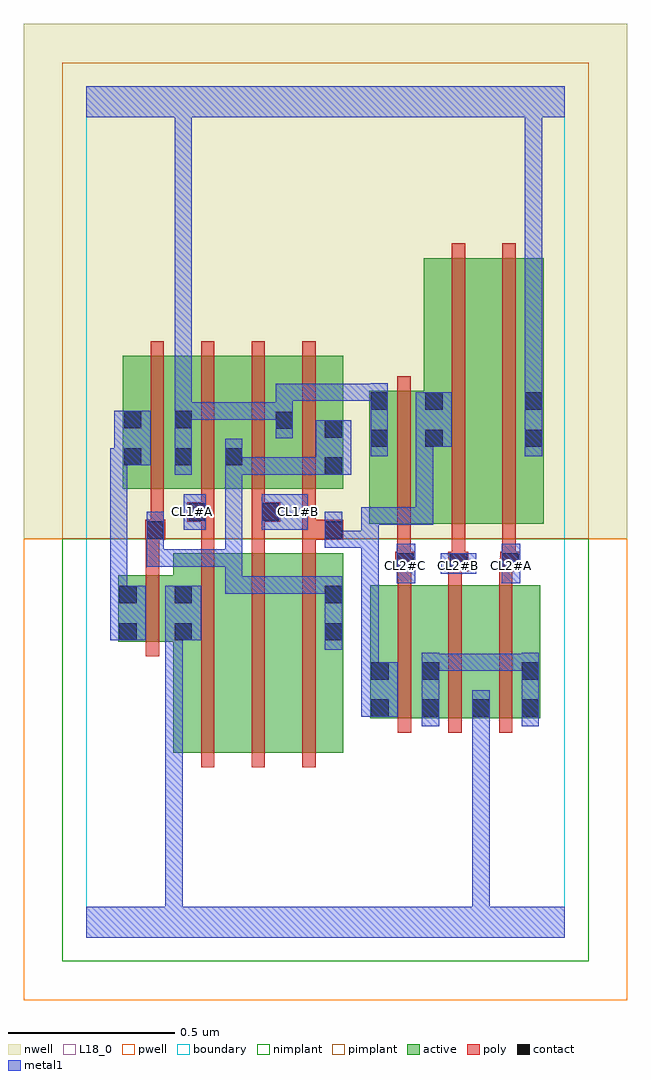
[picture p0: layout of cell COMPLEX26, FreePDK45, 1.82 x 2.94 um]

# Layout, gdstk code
import gdstk
lib = gdstk.Library(unit=1e-6, precision=1e-09)
def R(c, l, rs):  # rectangles x0, y0, x1, y1
    for r in rs: c.add(gdstk.rectangle(r[:2], r[2:], *l))
def A(c, l, x, y, w, h, nx, ny, dx, dy):  # array of equal rectangles
    R(c, l, [(x+i*dx, y+j*dy, x+i*dx+w, y+j*dy+h) for i in range(nx) for j in range(ny)])
active = (1, 0)
pwell = (2, 0)
nwell = (3, 0)
nimplant = (4, 0)
pimplant = (5, 0)
poly = (9, 0)
contact = (10, 0)
metal1 = (11, 0)
L18_0 = (18, 0)
boundary = (235, 0)

complex26 = lib.new_cell('COMPLEX26')
A(complex26, active, 0.11, 1.35, 0.212, 0.4, 3, 1, 0.152, 0)
R(complex26, active, [(0.262,0.556,0.442,1.156), (0.442,0.556,0.594,1.156), (0.594,0.556,0.774,1.156), (0.714,0.556,0.774,1.156), (0.854,0.66,0.914,1.06), (0.854,0.66,1.066,1.06), (1.006,0.66,1.218,1.06), (1.006,0.66,1.066,0.984), (1.158,0.66,1.366,1.06), (1.158,0.66,1.218,0.902), (1.306,0.66,1.366,1.06), (0.262,0.734,0.322,1.062), (0.096,0.89,0.322,1.09), (0.096,0.89,0.156,1.09), (0.852,1.244,0.912,1.644), (0.852,1.244,1.076,1.644), (1.016,1.244,1.196,2.044), (1.196,1.244,1.376,2.044), (1.316,1.244,1.376,2.044), (1.016,1.342,1.076,1.742), (0.11,1.35,0.17,1.75), (0.262,1.35,0.322,1.644), (0.414,1.35,0.474,1.644), (0.566,1.35,0.774,1.75), (0.714,1.35,0.774,1.644), (0.566,1.498,0.626,1.644)])
R(complex26, pwell, [(-0.188,-0.188,1.628,1.2)])
R(complex26, nwell, [(-0.188,1.2,1.628,2.748)])
R(complex26, nimplant, [(-0.072,-0.072,1.512,1.2)])
R(complex26, pimplant, [(-0.072,1.2,1.512,2.632)])
A(complex26, poly, 0.346, 0.512, 0.04, 0.688, 3, 1, 0.152, 0)
A(complex26, poly, 0.938, 0.616, 0.04, 0.488, 3, 1, 0.152, 0)
A(complex26, poly, 0.938, 1.064, 0.04, 0.076, 3, 1, 0.152, 0)
A(complex26, poly, 0.194, 1.306, 0.04, 0.488, 4, 1, 0.152, 0)
R(complex26, poly, [(0.18,0.846,0.22,1.134), (0.18,1.094,0.22,1.236), (0.93,1.1,0.99,1.16), (1.09,1.1,1.15,1.16), (1.242,1.1,1.286,1.14), (1.246,1.1,1.286,1.14), (1.246,1.1,1.306,1.16), (0.936,1.12,0.976,1.24), (0.936,1.12,0.976,1.16), (0.936,1.12,0.976,1.16), (1.1,1.12,1.14,1.24), (1.1,1.12,1.14,1.16), (1.1,1.12,1.14,1.16), (1.252,1.12,1.292,1.24), (0.346,1.16,0.386,1.29), (0.498,1.16,0.538,1.29), (0.65,1.16,0.69,1.236), (0.178,1.196,0.238,1.256), (0.65,1.196,0.774,1.256), (0.936,1.2,0.976,1.688), (1.1,1.2,1.14,2.088), (1.252,1.2,1.292,2.088), (0.194,1.216,0.234,1.256), (0.194,1.216,0.234,1.256), (0.194,1.216,0.234,1.346), (0.65,1.216,0.69,1.256), (0.65,1.216,0.69,1.256), (0.65,1.216,0.69,1.346), (0.304,1.25,0.386,1.31), (0.346,1.25,0.386,1.29), (0.346,1.25,0.386,1.29), (0.498,1.25,0.538,1.29), (0.498,1.25,0.538,1.29), (0.498,1.25,0.584,1.31), (0.346,1.27,0.386,1.346), (0.498,1.27,0.538,1.346)])
A(complex26, contact, 0.858, 0.664, 0.052, 0.052, 3, 1, 0.152, 0)
A(complex26, contact, 0.114, 1.42, 0.052, 0.052, 3, 1, 0.152, 0)
R(complex26, contact, [(1.31,0.664,1.362,0.716), (0.858,0.776,0.91,0.828), (1.01,0.776,1.062,0.828), (1.31,0.776,1.362,0.828), (0.1,0.894,0.152,0.946), (0.266,0.894,0.318,0.946), (0.718,0.894,0.77,0.946), (0.1,1.006,0.152,1.058), (0.266,1.006,0.318,1.058), (0.718,1.006,0.77,1.058), (0.934,1.104,0.986,1.156), (1.094,1.104,1.146,1.156), (1.25,1.104,1.302,1.156), (0.182,1.2,0.234,1.252), (0.718,1.2,0.77,1.252), (0.308,1.254,0.36,1.306), (0.528,1.254,0.58,1.306), (0.718,1.392,0.77,1.444), (0.856,1.476,0.908,1.528), (1.02,1.476,1.072,1.528), (1.32,1.476,1.372,1.528), (0.718,1.504,0.77,1.556), (0.57,1.53,0.622,1.582), (0.114,1.532,0.166,1.584), (0.266,1.532,0.318,1.584), (0.856,1.588,0.908,1.64), (1.02,1.588,1.072,1.64), (1.32,1.588,1.372,1.64)])
R(complex26, metal1, [(0,0,1.44,0.092), (0.238,0.04,0.29,0.092), (0.238,0.04,0.29,0.092), (0.238,0.04,0.29,0.092), (0.238,0.04,0.29,0.092), (0.238,0.04,0.29,0.092), (0.238,0.04,0.29,0.092), (0.238,0.04,0.29,0.092), (0.238,0.04,0.29,0.092), (0.238,0.04,0.29,0.946), (1.162,0.04,1.214,0.688), (1.01,0.636,1.062,0.856), (1.162,0.636,1.214,0.688), (1.162,0.636,1.214,0.688), (1.162,0.636,1.214,0.688), (1.162,0.636,1.214,0.688), (1.162,0.636,1.214,0.688), (1.162,0.636,1.214,0.688), (1.162,0.636,1.214,0.688), (1.162,0.636,1.214,0.688), (1.162,0.636,1.214,0.688), (1.162,0.636,1.214,0.688), (1.162,0.636,1.214,0.688), (1.162,0.636,1.214,0.688), (1.162,0.636,1.214,0.744), (1.31,0.636,1.362,0.856), (0.828,0.664,0.938,0.828), (0.828,0.776,0.88,1.224), (1.01,0.802,1.19,0.854), (1.138,0.802,1.19,0.854), (1.138,0.802,1.19,0.854), (1.138,0.802,1.19,0.854), (1.138,0.802,1.362,0.854), (1.31,0.802,1.362,0.854), (1.31,0.802,1.362,0.854), (0.718,0.866,0.77,1.086), (0.072,0.894,0.18,1.058), (0.238,0.894,0.346,1.058), (0.072,1.006,0.124,1.472), (0.418,1.034,0.47,1.086), (0.418,1.034,0.47,1.086), (0.418,1.034,0.47,1.086), (0.418,1.034,0.604,1.086), (0.418,1.034,0.47,1.168), (0.552,1.034,0.604,1.086), (0.552,1.034,0.604,1.086), (0.552,1.034,0.604,1.086), (0.552,1.034,0.77,1.086), (0.934,1.066,0.99,1.184), (1.25,1.066,1.306,1.184), (1.066,1.094,1.174,1.156), (0.182,1.116,0.234,1.224), (0.182,1.116,0.346,1.168), (0.294,1.116,0.346,1.168), (0.294,1.116,0.47,1.168), (0.418,1.116,0.47,1.168), (0.418,1.116,0.47,1.444), (0.182,1.172,0.234,1.224), (0.182,1.172,0.234,1.28), (0.718,1.172,0.77,1.28), (0.718,1.172,0.876,1.224), (0.824,1.172,0.876,1.224), (0.824,1.172,0.88,1.224), (0.828,1.172,0.88,1.224), (0.828,1.172,0.88,1.294), (0.294,1.226,0.36,1.334), (0.528,1.226,0.666,1.334), (0.828,1.242,0.88,1.294), (0.828,1.242,0.986,1.294), (0.934,1.242,0.986,1.294), (0.934,1.242,1.044,1.294), (0.992,1.242,1.044,1.294), (0.992,1.242,1.044,1.528), (0.266,1.392,0.318,1.612), (0.418,1.392,0.47,1.444), (0.418,1.392,0.47,1.444), (0.418,1.392,0.47,1.444), (0.418,1.392,0.47,1.444), (0.418,1.392,0.47,1.5), (0.418,1.392,0.632,1.444), (0.58,1.392,0.632,1.444), (0.58,1.392,0.742,1.444), (0.69,1.392,0.742,1.444), (0.69,1.392,0.742,1.444), (0.69,1.392,0.798,1.556), (0.072,1.42,0.124,1.472), (0.072,1.42,0.124,1.472), (0.072,1.42,0.136,1.472), (0.084,1.42,0.136,1.472), (0.084,1.42,0.194,1.584), (0.856,1.448,0.908,1.668), (1.32,1.448,1.372,1.668), (0.992,1.476,1.1,1.64), (0.57,1.502,0.622,1.61), (0.266,1.558,0.36,1.61), (0.308,1.558,0.36,1.61), (0.308,1.558,0.494,1.61), (0.442,1.558,0.494,1.61), (0.442,1.558,0.494,1.61), (0.442,1.558,0.494,1.61), (0.442,1.558,0.622,1.61), (0.57,1.558,0.622,1.61), (0.57,1.558,0.622,1.666), (0.266,1.56,0.318,1.612), (0.266,1.56,0.318,1.612), (0.266,1.56,0.318,1.612), (0.266,1.56,0.318,1.612), (0.266,1.56,0.318,1.612), (0.266,1.56,0.318,1.612), (0.266,1.56,0.318,2.52), (0.57,1.614,0.876,1.666), (0.824,1.614,0.876,1.666), (0.824,1.614,0.908,1.666), (1.32,1.616,1.372,2.52), (0,2.468,1.44,2.56), (0.266,2.468,0.318,2.52), (0.266,2.468,0.318,2.52), (0.266,2.468,0.318,2.52), (0.266,2.468,0.318,2.52), (0.266,2.468,0.318,2.52), (0.266,2.468,0.318,2.52), (0.266,2.468,0.318,2.52), (0.266,2.468,0.318,2.52), (0.266,2.468,0.318,2.52), (0.266,2.468,0.318,2.52), (1.32,2.468,1.372,2.52), (1.32,2.468,1.372,2.52), (1.32,2.468,1.372,2.52), (1.32,2.468,1.372,2.52), (1.32,2.468,1.372,2.52), (1.32,2.468,1.372,2.52), (1.32,2.468,1.372,2.52), (1.32,2.468,1.372,2.52)])
A(complex26, L18_0, 0.934, 1.094, 0.052, 0.052, 3, 1, 0.16, 0)
R(complex26, L18_0, [(0,0,1.44,0.092), (0.238,0.04,0.29,0.092), (0.238,0.04,0.29,0.092), (0.238,0.04,0.29,0.092), (0.238,0.04,0.29,0.092), (0.238,0.04,0.29,0.092), (0.238,0.04,0.29,0.092), (0.238,0.04,0.29,0.092), (0.238,0.04,0.29,0.092), (0.238,0.04,0.29,0.946), (1.162,0.04,1.214,0.688), (1.162,0.636,1.214,0.688), (1.162,0.636,1.214,0.688), (1.162,0.636,1.214,0.688), (1.162,0.636,1.214,0.688), (1.162,0.636,1.214,0.688), (1.162,0.636,1.214,0.688), (1.162,0.636,1.214,0.688), (1.162,0.636,1.214,0.688), (1.162,0.636,1.214,0.688), (1.162,0.636,1.214,0.688), (1.162,0.636,1.214,0.688), (1.162,0.636,1.214,0.688), (1.162,0.636,1.214,0.744), (0.238,0.894,0.346,1.058), (0.934,1.066,0.99,1.184), (1.25,1.066,1.306,1.184), (1.066,1.094,1.174,1.156), (0.294,1.226,0.36,1.334), (0.528,1.226,0.666,1.334), (0.294,1.254,0.346,1.306), (0.614,1.254,0.666,1.306), (0.266,1.392,0.318,1.612), (0.856,1.448,0.908,1.668), (1.32,1.448,1.372,1.668), (0.57,1.502,0.622,1.61), (0.266,1.558,0.36,1.61), (0.308,1.558,0.36,1.61), (0.308,1.558,0.494,1.61), (0.442,1.558,0.494,1.61), (0.442,1.558,0.494,1.61), (0.442,1.558,0.494,1.61), (0.442,1.558,0.622,1.61), (0.57,1.558,0.622,1.61), (0.57,1.558,0.622,1.666), (0.266,1.56,0.318,1.612), (0.266,1.56,0.318,1.612), (0.266,1.56,0.318,1.612), (0.266,1.56,0.318,1.612), (0.266,1.56,0.318,1.612), (0.266,1.56,0.318,1.612), (0.266,1.56,0.318,2.52), (0.57,1.614,0.876,1.666), (0.824,1.614,0.876,1.666), (0.824,1.614,0.908,1.666), (1.32,1.616,1.372,2.52), (0,2.468,1.44,2.56), (0.266,2.468,0.318,2.52), (0.266,2.468,0.318,2.52), (0.266,2.468,0.318,2.52), (0.266,2.468,0.318,2.52), (0.266,2.468,0.318,2.52), (0.266,2.468,0.318,2.52), (0.266,2.468,0.318,2.52), (0.266,2.468,0.318,2.52), (0.266,2.468,0.318,2.52), (0.266,2.468,0.318,2.52), (1.32,2.468,1.372,2.52), (1.32,2.468,1.372,2.52), (1.32,2.468,1.372,2.52), (1.32,2.468,1.372,2.52), (1.32,2.468,1.372,2.52), (1.32,2.468,1.372,2.52), (1.32,2.468,1.372,2.52), (1.32,2.468,1.372,2.52)])
R(complex26, boundary, [(0,0,1.44,2.56)])
complex26.add(gdstk.Label('CL1#A', (0.32,1.28), layer=11, texttype=0))
complex26.add(gdstk.Label('CL1#B', (0.64,1.28), layer=11, texttype=0))
complex26.add(gdstk.Label('CL2#A', (1.28,1.12), layer=11, texttype=0))
complex26.add(gdstk.Label('CL2#B', (1.12,1.12), layer=11, texttype=0))
complex26.add(gdstk.Label('CL2#C', (0.96,1.12), layer=11, texttype=0))

lib.write_gds('COMPLEX26.gds')
